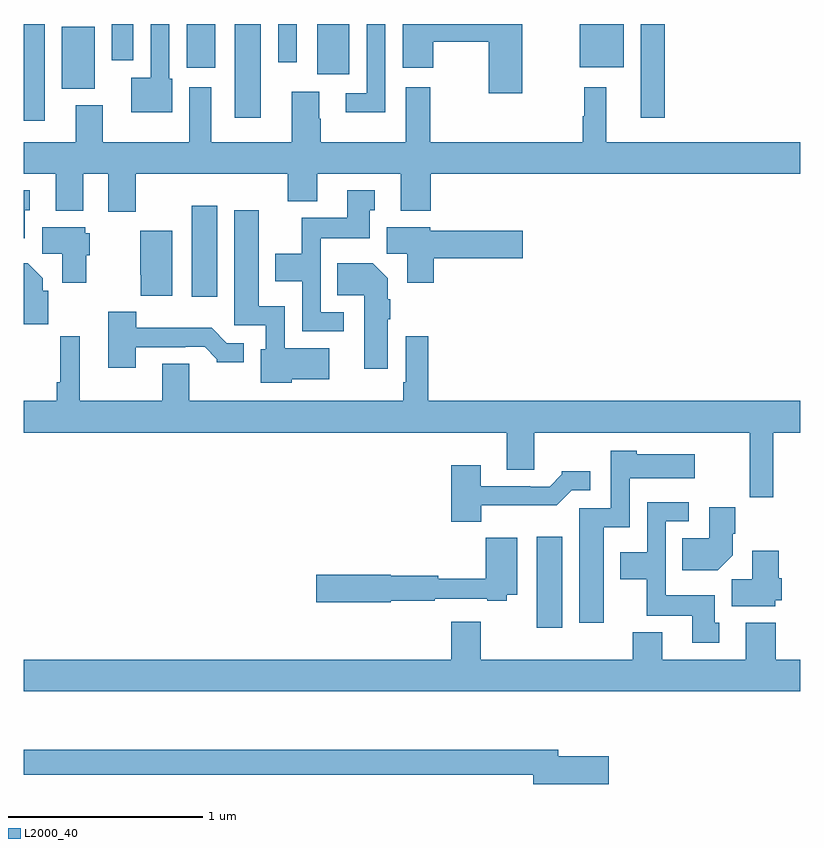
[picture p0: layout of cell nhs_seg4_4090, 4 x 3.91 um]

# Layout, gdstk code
import gdstk
lib = gdstk.Library(unit=1e-6, precision=1e-09)
def R(c, l, rs):  # rectangles x0, y0, x1, y1
    for r in rs: c.add(gdstk.rectangle(r[:2], r[2:], *l))
def P(c, l, *ps):  # polygons
    for p in ps: c.add(gdstk.Polygon(p, *l))
L2000_40 = (2000, 40)

nhs_seg4_4090 = lib.new_cell('nhs_seg4_4090')
R(nhs_seg4_4090, L2000_40, [(329.642,819.792,329.773,820.261), (327.866,821.496,327.997,821.965), (327,822.402,327.108,822.9), (328.088,822.417,328.222,822.9), (330.179,822.417,330.301,822.9), (327.197,822.566,327.367,822.886), (328.511,822.642,328.678,822.9), (327.839,822.675,327.988,822.9), (329.864,822.677,330.091,822.9), (328.311,822.702,328.407,822.9), (327.455,822.714,327.565,822.9)])
P(nhs_seg4_4090, L2000_40, [(327.766,822.618),(327.75,822.618),(327.75,822.9),(327.654,822.9),(327.654,822.622),(327.554,822.622),(327.554,822.446),(327.766,822.446)],
  [(328.863,822.9),(328.767,822.9),(328.767,822.543),(328.659,822.543),(328.659,822.446),(328.863,822.446)],
  [(329.568,822.9),(328.952,822.9),(328.952,822.675),(329.109,822.675),(329.109,822.808),(329.395,822.808),(329.395,822.543),(329.568,822.543)],
  [(327.577,822.128),(328.361,822.128),(328.361,821.987),(328.513,821.987),(328.513,822.128),(328.943,822.128),(328.943,821.939),(329.096,821.939),(329.096,822.128),(331,822.128),(331,822.292),(330.001,822.292),(330.001,822.574),(329.887,822.574),(329.887,822.425),(329.88,822.425),(329.88,822.292),(329.093,822.292),(329.093,822.574),(328.967,822.574),(328.967,822.292),(328.53,822.292),(328.53,822.413),(328.522,822.413),(328.522,822.55),(328.382,822.55),(328.382,822.292),(327.967,822.292),(327.967,822.574),(327.854,822.574),(327.854,822.292),(327.409,822.292),(327.409,822.481),(327.269,822.481),(327.269,822.292),(327,822.292),(327,822.128),(327.167,822.128),(327.167,821.939),(327.307,821.939),(327.307,822.128),(327.437,822.128),(327.437,821.934),(327.577,821.934)],
  [(327.007,821.94),(327.031,821.94),(327.031,822.043),(327,822.043),(327,821.798),(327.007,821.798)],
  [(328.648,821.415),(328.53,821.415),(328.53,821.798),(328.783,821.798),(328.783,821.94),(328.807,821.94),(328.807,822.043),(328.667,822.043),(328.667,821.902),(328.432,821.902),(328.432,821.716),(328.295,821.716),(328.295,821.576),(328.434,821.576),(328.434,821.319),(328.648,821.319)],
  [(328.38,821.072),(328.573,821.072),(328.573,821.23),(328.344,821.23),(328.344,821.446),(328.21,821.446),(328.21,821.941),(328.085,821.941),(328.085,821.349),(328.248,821.349),(328.248,821.226),(328.22,821.226),(328.22,821.054),(328.38,821.054)],
  [(329.111,821.693),(329.569,821.693),(329.569,821.835),(329.094,821.835),(329.094,821.854),(328.871,821.854),(328.871,821.716),(328.976,821.716),(328.976,821.568),(329.111,821.568)],
  [(327.322,821.709),(327.34,821.709),(327.34,821.823),(327.318,821.823),(327.318,821.854),(327.095,821.854),(327.095,821.716),(327.2,821.716),(327.2,821.568),(327.322,821.568)],
  [(327.766,821.836),(327.602,821.836),(327.602,821.608),(327.604,821.608),(327.604,821.501),(327.766,821.501)],
  [(327.126,821.526),(327.1,821.526),(327.1,821.59),(327.022,821.668),(327,821.668),(327,821.354),(327.126,821.354)],
  [(328.876,821.38),(328.889,821.38),(328.889,821.483),(328.876,821.483),(328.876,821.59),(328.798,821.668),(328.615,821.668),(328.615,821.504),(328.754,821.504),(328.754,821.124),(328.876,821.124)],
  [(327.577,821.235),(327.833,821.235),(327.833,821.238),(327.932,821.238),(327.996,821.174),(327.996,821.159),(328.135,821.159),(328.135,821.256),(328.047,821.256),(327.969,821.335),(327.58,821.335),(327.58,821.419),(327.437,821.419),(327.437,821.13),(327.577,821.13)],
  [(329.489,820.606),(329.629,820.606),(329.629,820.796),(330.739,820.796),(330.739,820.464),(330.86,820.464),(330.86,820.796),(331,820.796),(331,820.96),(329.084,820.96),(329.084,821.293),(328.968,821.293),(328.968,821.056),(328.956,821.056),(328.956,820.96),(327.853,820.96),(327.853,821.15),(327.713,821.15),(327.713,820.96),(327.289,820.96),(327.289,821.293),(327.19,821.293),(327.19,821.056),(327.172,821.056),(327.172,820.96),(327,820.96),(327,820.796),(329.489,820.796)],
  [(329.986,820.31),(330.12,820.31),(330.12,820.562),(330.457,820.562),(330.457,820.684),(330.156,820.684),(330.156,820.702),(330.024,820.702),(330.024,820.407),(329.861,820.407),(329.861,819.816),(329.986,819.816)],
  [(329.356,820.422),(329.745,820.422),(329.823,820.5),(329.917,820.5),(329.917,820.597),(329.772,820.597),(329.772,820.582),(329.708,820.518),(329.609,820.518),(329.609,820.521),(329.353,820.521),(329.353,820.627),(329.201,820.627),(329.201,820.337),(329.356,820.337)],
  [(330.583,819.816),(330.559,819.816),(330.559,819.958),(330.306,819.958),(330.306,820.341),(330.424,820.341),(330.424,820.437),(330.21,820.437),(330.21,820.18),(330.071,820.18),(330.071,820.04),(330.208,820.04),(330.208,819.854),(330.443,819.854),(330.443,819.714),(330.583,819.714)],
  [(330.652,820.166),(330.652,820.276),(330.665,820.276),(330.665,820.411),(330.53,820.411),(330.53,820.252),(330.391,820.252),(330.391,820.088),(330.574,820.088)],
  [(328.89,819.93),(329.117,819.93),(329.117,819.942),(329.387,819.942),(329.387,819.93),(329.487,819.93),(329.487,819.962),(329.542,819.962),(329.542,820.255),(329.38,820.255),(329.38,820.043),(329.136,820.043),(329.136,820.058),(328.89,820.058),(328.89,820.064),(328.506,820.064),(328.506,819.922),(328.89,819.922)],
  [(330.87,819.933),(330.905,819.933),(330.905,820.047),(330.887,820.047),(330.887,820.189),(330.752,820.189),(330.752,820.04),(330.647,820.04),(330.647,819.902),(330.87,819.902)],
  [(329.201,819.823),(329.201,819.628),(327,819.628),(327,819.464),(331,819.464),(331,819.628),(330.872,819.628),(330.872,819.817),(330.719,819.817),(330.719,819.628),(330.289,819.628),(330.289,819.769),(330.137,819.769),(330.137,819.628),(329.353,819.628),(329.353,819.823)],
  [(330.013,819.129),(329.752,819.129),(329.752,819.163),(327,819.163),(327,819.034),(329.624,819.034),(329.624,818.987),(330.013,818.987)])

lib.write_gds('nhs_seg4_4090.gds')
